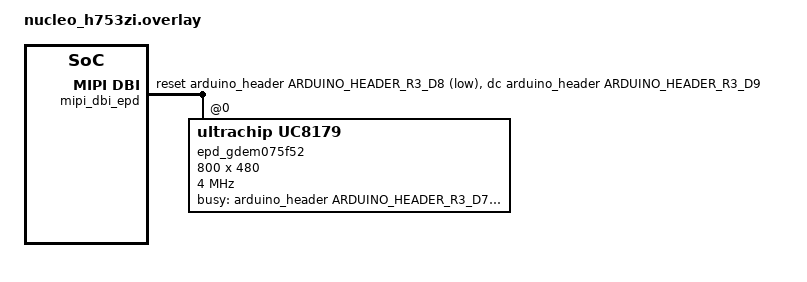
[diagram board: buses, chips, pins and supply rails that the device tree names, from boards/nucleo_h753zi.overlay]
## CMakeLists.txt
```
cmake_minimum_required(VERSION 3.20.0)

find_package(Zephyr REQUIRED HINTS $ENV{ZEPHYR_BASE})
project(rv_display)

target_sources(app PRIVATE src/main.c)
```

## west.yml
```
manifest:
  remotes:
    - name: zephyrproject-rtos
      url-base: https://github.com/zephyrproject-rtos

  projects:
    - name: zephyr
      remote: zephyrproject-rtos
      revision: main
      import:
        name-allowlist:
          - cmsis
          - cmsis_6
          - hal_stm32
          - segger
          - tinycrypt
          - mbedtls
          - hal_common
          - lvgl

  self:
    path: rv_display
```

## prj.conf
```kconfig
CONFIG_LOG=y
CONFIG_SERIAL=y
CONFIG_CONSOLE=y
CONFIG_UART_CONSOLE=y
CONFIG_PRINTK=y

CONFIG_SPI=y
CONFIG_DISPLAY=y
CONFIG_MIPI_DBI=y

# Bigger main stack for the framebuffer fill-test on an 800x480 panel
CONFIG_MAIN_STACK_SIZE=4096
```

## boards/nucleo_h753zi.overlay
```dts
/*
 * GDEM075F52 (Good Display, 7.5" 800x480 e-paper, UC8179 controller)
 * wired to the Nucleo-H753ZI Arduino R3 header:
 *
 *   SPI1   MOSI=PB5  MISO=PA6  SCK=PA5  CS=PD14   (D11/D12/D13/D10)
 *   DC     PD15  (D9)
 *   RST    PF3   (D8)
 *   BUSY   PG12  (D7)
 *
 * Softstart / CDI / TCON values borrowed from the Waveshare GDEW075T7 shield;
 * the panel format and controller are identical, so they are a sane starting
 * point and can be tuned per panel later.
 */

#include <zephyr/dt-bindings/gpio/arduino-header-r3.h>

/ {
	chosen {
		zephyr,display = &epd_gdem075f52;
	};

	mipi_dbi_epd: mipi_dbi_epd {
		compatible = "zephyr,mipi-dbi-spi";
		spi-dev = <&arduino_spi>;
		dc-gpios = <&arduino_header ARDUINO_HEADER_R3_D9 GPIO_ACTIVE_HIGH>;
		reset-gpios = <&arduino_header ARDUINO_HEADER_R3_D8 GPIO_ACTIVE_LOW>;
		write-only;
		#address-cells = <1>;
		#size-cells = <0>;

		epd_gdem075f52: uc8179@0 {
			compatible = "ultrachip,uc8179";
			mipi-max-frequency = <4000000>;
			reg = <0>;
			width = <800>;
			height = <480>;
			busy-gpios = <&arduino_header ARDUINO_HEADER_R3_D7 GPIO_ACTIVE_LOW>;

			softstart = [17 17 17 17];

			full {
				pwr = [07 07 3f 3f];
				cdi = <07>;
				tcon = <0x22>;
			};
		};
	};
};
```

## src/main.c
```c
#include <zephyr/kernel.h>
#include <zephyr/device.h>
#include <zephyr/drivers/display.h>
#include <zephyr/logging/log.h>

LOG_MODULE_REGISTER(rv_display, LOG_LEVEL_INF);

#define EPD_W        800
#define EPD_H        480
#define EPD_STRIDE   (EPD_W / 8)
#define EPD_BUF_SIZE (EPD_STRIDE * EPD_H)

static uint8_t fb[EPD_BUF_SIZE];

static void fill(uint8_t value)
{
	for (size_t i = 0; i < sizeof(fb); i++) {
		fb[i] = value;
	}
}

static void fill_split(void)
{
	for (uint16_t y = 0; y < EPD_H; y++) {
		uint8_t v = (y < EPD_H / 2) ? 0xFF : 0x00;
		for (uint16_t x = 0; x < EPD_STRIDE; x++) {
			fb[y * EPD_STRIDE + x] = v;
		}
	}
}

int main(void)
{
	const struct device *display = DEVICE_DT_GET(DT_CHOSEN(zephyr_display));
	struct display_buffer_descriptor desc = {
		.buf_size = sizeof(fb),
		.width = EPD_W,
		.height = EPD_H,
		.pitch = EPD_W,
	};

	if (!device_is_ready(display)) {
		LOG_ERR("display not ready");
		return -1;
	}

	display_blanking_off(display);

	while (1) {
		LOG_INF("white");
		fill(0xFF);
		display_write(display, 0, 0, &desc, fb);
		k_sleep(K_SECONDS(15));

		LOG_INF("split");
		fill_split();
		display_write(display, 0, 0, &desc, fb);
		k_sleep(K_SECONDS(15));

		LOG_INF("black");
		fill(0x00);
		display_write(display, 0, 0, &desc, fb);
		k_sleep(K_SECONDS(15));
	}
	return 0;
}
```
